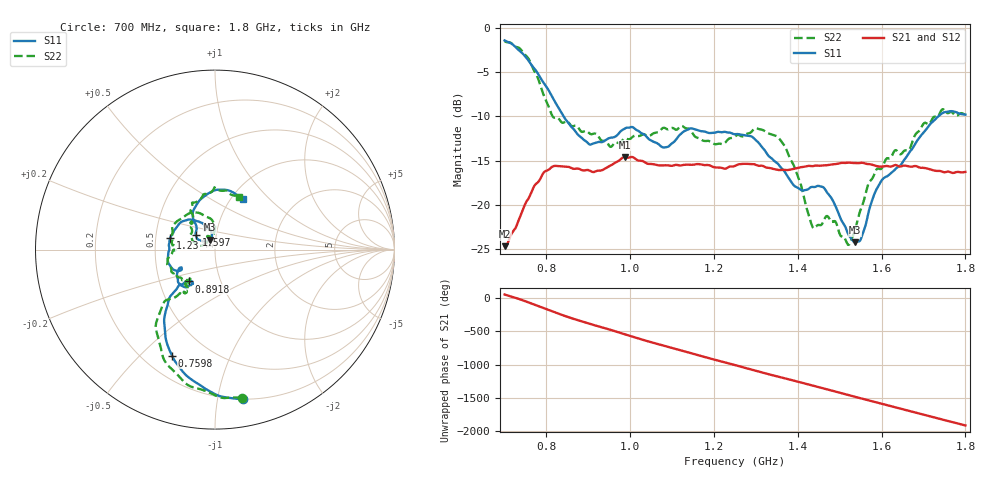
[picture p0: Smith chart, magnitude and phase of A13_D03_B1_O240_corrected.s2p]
! Created with skrf 1.9.0 (http://scikit-rf.org).
# Hz S RI R 50.0
!freq ReS11 ImS11 ReS21 ImS21 ReS12 ImS12 ReS22 ImS22
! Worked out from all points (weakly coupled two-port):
!   1601 points, 700 MHz to 1.8 GHz, reference 50 ohm
!   highest |S21| = -14.59 dB at 986.7 MHz (marker M1); lowest = -24.7 dB at 701.4 MHz (marker M2)
!   lowest |S11| = -24.2 dB at 1.537 GHz (marker M3), VSWR 1.13, Z = 47.1 + j5.2 ohm
!   |S11| at or under -10 dB: 840.6 MHz to 1.735 GHz (894.6 MHz wide, 69.5 % of centre)
!   |S22| runs from -24.5 to -1.5 dB; largest |S21 - S12| = 0.0035
!   S11 on the Smith chart (normalised r, x): 700 MHz: 0.20, -1.19; 759.8 MHz: 0.31, -0.63; 891.8 MHz: 0.70, -0.26; 1.23 GHz: 0.60, +0.08; 1.597 GHz: 0.80, +0.13; 1.8 GHz: 1.13, +0.71
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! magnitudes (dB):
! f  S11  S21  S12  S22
! 700 MHz  -1.4  -24.7  -24.4  -1.5
! 701.4 MHz  -1.5  -24.7  -24.3  -1.6
! 759.8 MHz  -3.9  -19.0  -18.9  -3.7
! 814.8 MHz  -7.9  -15.7  -15.7  -10.0
! 883.6 MHz  -12.4  -16.1  -15.9  -11.7
! 891.8 MHz  -12.7  -16.1  -16.1  -11.7
! 986.7 MHz  -11.4  -14.6  -14.7  -12.5
! 1.067 GHz  -13.1  -15.5  -15.5  -11.8
! 1.143 GHz  -11.4  -15.5  -15.5  -11.5
! 1.23 GHz  -11.8  -15.9  -15.8  -12.8
! 1.25 GHz  -12.0  -15.6  -15.5  -12.3
! 1.356 GHz  -15.6  -16.1  -16.0  -12.5
! 1.394 GHz  -17.9  -15.9  -15.9  -15.9
! 1.434 GHz  -18.0  -15.6  -15.6  -22.3
! 1.471 GHz  -18.7  -15.5  -15.5  -21.3
! 1.521 GHz  -23.4  -15.2  -15.2  -24.5
! 1.537 GHz  -24.2  -15.3  -15.3  -22.8
! 1.568 GHz  -20.9  -15.4  -15.4  -17.7
! 1.597 GHz  -17.5  -15.7  -15.7  -16.0
! 1.617 GHz  -16.6  -15.6  -15.6  -14.8
! 1.74 GHz  -9.8  -16.2  -16.2  -9.5
! 1.8 GHz  -9.8  -16.3  -16.3  -9.9
